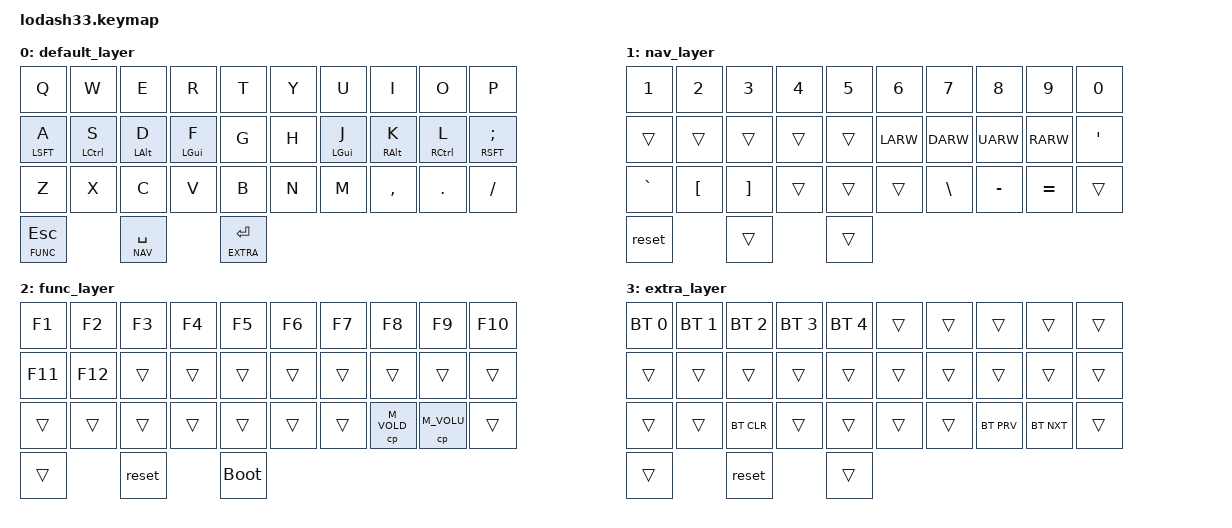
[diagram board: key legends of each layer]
/*
 * Copyright (c) 2020 The ZMK Contributors
 *
 * SPDX-License-Identifier: MIT
 */

#include <behaviors.dtsi>
#include <dt-bindings/zmk/keys.h>
#include <dt-bindings/zmk/bt.h>

#define DEFAULT 0
#define NAV     1
#define FUNC    2
#define EXTRA   3

/ {
    behaviors {
        hm: homerow_mods {
            compatible = "zmk,behavior-hold-tap";
            label = "homerow mods";
            #binding-cells = <2>;
            tapping_term_ms = <180>;
            flavor = "tap-preferred";
            bindings = <&kp>, <&kp>;
        };

        combo_ent {
            compatible = "zmk,behavior-combo";
            label = "COMBO_ENT";
            timeout-ms = <50>;
            key-positions = <12 13>;
            bindings = <&kp RET>;
        };

        combo_bksp {
            compatible = "zmk,behavior-combo";
            label = "COMBO_BKSP";
            timeout-ms = <50>;
            key-positions = <16 17>;
            bindings = <&kp BKSP>;
        };

        combo_tab {
            compatible = "zmk,behavior-combo";
            label = "COMBO_TAB";
            timeout-ms = <50>;
            key-positions = <22 23>;
            bindings = <&kp TAB>;
        };

        combo_del {
            compatible = "zmk,behavior-combo";
            label = "COMBO_DEL";
            timeout-ms = <50>;
            key-positions = <26 27>;
            bindings = <&kp DEL>;
        };
    };
};

/ {
    keymap {
        compatible = "zmk,keymap";

        default_layer {
            bindings = <
                &kp Q &kp W &kp E &kp R &kp T &kp Y &kp U &kp I &kp O &kp P
                &hm LSFT A &hm LCTL S &hm LALT D &hm LGUI F &kp G &kp H &hm LGUI J &hm RALT K &hm RCTL L &hm RSFT SCLN
                &kp Z &kp X &kp C &kp V &kp B &kp N &kp M &kp CMMA &kp DOT &kp FSLH
                &lt FUNC ESC &lt NAV SPC &lt EXTRA RET
            >;
        };

        nav_layer {
            bindings = <
                &kp NUM_1 &kp NUM_2 &kp NUM_3 &kp NUM_4 &kp NUM_5 &kp NUM_6 &kp NUM_7 &kp NUM_8 &kp NUM_9 &kp NUM_0
                &trans &trans &trans &trans &trans &kp LARW &kp DARW &kp UARW &kp RARW &kp QUOT
                &kp GRAV &kp LBKT &kp RBKT &trans &trans &trans &kp BSLH &kp MINUS &kp EQL &trans
                &reset &trans &trans
            >;
        };

        func_layer {
            bindings = <
                &kp F1 &kp F2 &kp F3 &kp F4 &kp F5 &kp F6 &kp F7 &kp F8 &kp F9 &kp F10
                &kp F11 &kp F12 &trans &trans &trans &trans &trans &trans &trans &trans
                &trans &trans &trans &trans &trans &trans &trans &cp M_VOLD &cp M_VOLU &trans
                &trans &reset &bootloader
            >;
        };

        extra_layer {
            bindings = <
                &bt BT_SEL 0 &bt BT_SEL 1 &bt BT_SEL 2 &bt BT_SEL 3 &bt BT_SEL 4 &trans &trans &trans &trans &trans
                &trans &trans &trans &trans &trans &trans &trans &trans &trans &trans
                &trans &trans &bt BT_CLR &trans &trans &trans &trans &bt BT_PRV &bt BT_NXT &trans
                &trans &reset &trans
            >;
        };
    };
};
